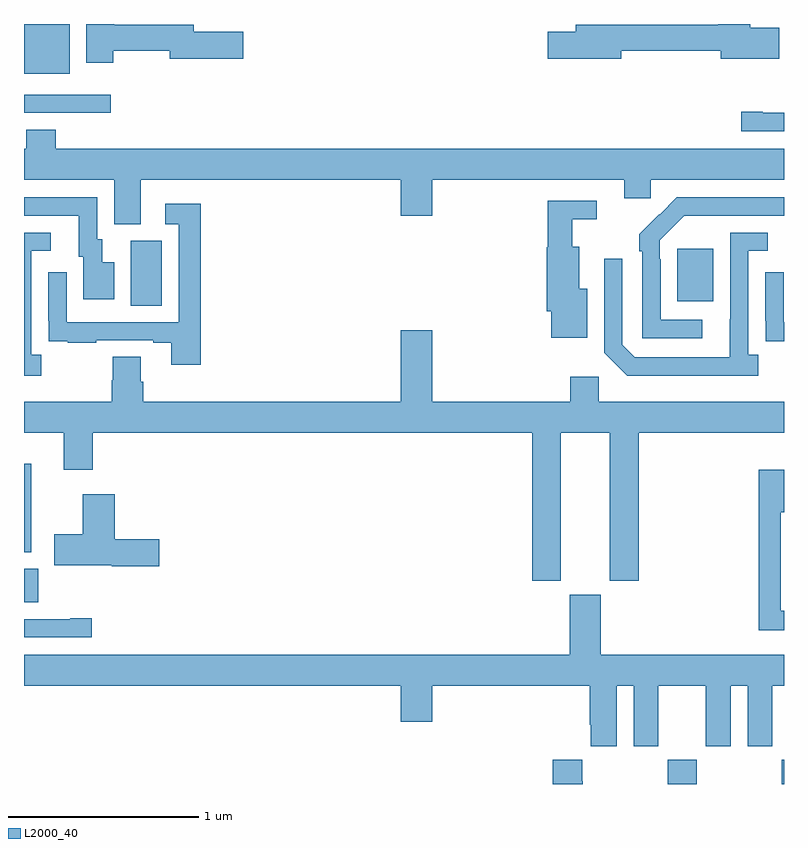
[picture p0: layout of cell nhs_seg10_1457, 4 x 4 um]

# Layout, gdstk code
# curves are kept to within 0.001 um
import gdstk
lib = gdstk.Library(unit=1e-6, precision=1e-09)
def R(c, l, rs):  # rectangles x0, y0, x1, y1
    for r in rs: c.add(gdstk.rectangle(r[:2], r[2:], *l))
def P(c, l, *ps):  # polygons
    for p in ps: c.add(gdstk.Polygon(p, *l))
L2000_40 = (2000, 40)

nhs_seg10_1457 = lib.new_cell('nhs_seg10_1457')
R(nhs_seg10_1457, L2000_40, [(190.387,1266.5,190.542,1266.628), (190.987,1266.5,191,1266.628), (187,1267.457,187.075,1267.633), (187,1267.721,187.039,1268.185), (187.562,1269.016,187.726,1269.36), (190.439,1269.041,190.627,1269.316), (187,1270.032,187.456,1270.128), (187,1270.238,187.24,1270.5)])
P(nhs_seg10_1457, L2000_40, [(190.975,1270.479),(190.822,1270.479),(190.822,1270.5),(190.655,1270.5),(190.655,1270.496),(189.905,1270.496),(189.905,1270.46),(189.756,1270.46),(189.756,1270.318),(190.144,1270.318),(190.144,1270.36),(190.667,1270.36),(190.667,1270.316),(190.975,1270.316)],
  [(187.47,1270.36),(187.766,1270.36),(187.766,1270.318),(188.155,1270.318),(188.155,1270.46),(187.894,1270.46),(187.894,1270.496),(187.475,1270.496),(187.475,1270.5),(187.328,1270.5),(187.328,1270.296),(187.47,1270.296)],
  [(191,1270.032),(190.888,1270.032),(190.888,1270.037),(190.776,1270.037),(190.776,1269.936),(191,1269.936)],
  [(187.615,1269.68),(188.984,1269.68),(188.984,1269.492),(189.148,1269.492),(189.148,1269.68),(190.16,1269.68),(190.16,1269.582),(190.299,1269.582),(190.299,1269.68),(191,1269.68),(191,1269.844),(187.166,1269.844),(187.166,1269.943),(187.013,1269.943),(187.013,1269.844),(187,1269.844),(187,1269.68),(187.475,1269.68),(187.475,1269.445),(187.615,1269.445)],
  [(190.57,1268.943),(190.35,1268.943),(190.35,1269.263),(190.347,1269.263),(190.347,1269.363),(190.476,1269.492),(191,1269.492),(191,1269.588),(190.436,1269.588),(190.239,1269.393),(190.239,1269.305),(190.254,1269.305),(190.254,1268.847),(190.57,1268.847)],
  [(187.474,1269.247),(187.411,1269.247),(187.411,1269.366),(187.386,1269.366),(187.386,1269.588),(187,1269.588),(187,1269.492),(187.289,1269.492),(187.289,1269.276),(187.313,1269.276),(187.313,1269.051),(187.474,1269.051)],
  [(189.964,1269.106),(189.922,1269.106),(189.922,1269.328),(189.886,1269.328),(189.886,1269.473),(190.015,1269.473),(190.015,1269.57),(189.757,1269.57),(189.757,1269.324),(189.752,1269.324),(189.752,1268.988),(189.776,1268.988),(189.776,1268.849),(189.964,1268.849)],
  [(187.931,1269.553),(187.743,1269.553),(187.743,1269.447),(187.815,1269.447),(187.815,1268.931),(187.224,1268.931),(187.224,1269.193),(187.128,1269.193),(187.128,1268.938),(187.129,1268.938),(187.129,1268.829),(187.231,1268.829),(187.231,1268.823),(187.379,1268.823),(187.379,1268.835),(187.679,1268.835),(187.679,1268.823),(187.775,1268.823),(187.775,1268.706),(187.931,1268.706)],
  [(187.09,1268.758),(187.038,1268.758),(187.038,1269.306),(187.141,1269.306),(187.141,1269.402),(187,1269.402),(187,1268.648),(187.09,1268.648)],
  [(190.864,1268.758),(190.812,1268.758),(190.812,1269.306),(190.915,1269.306),(190.915,1269.402),(190.716,1269.402),(190.715,1268.745),(190.215,1268.745),(190.149,1268.811),(190.149,1269.265),(190.053,1269.265),(190.053,1268.769),(190.174,1268.648),(190.864,1268.648)],
  [(191,1268.931),(190.998,1268.931),(190.998,1269.193),(190.902,1269.193),(190.902,1268.938),(190.903,1268.938),(190.903,1268.829),(191,1268.829)],
  [(188.984,1268.887),(188.984,1268.512),(187.628,1268.512),(187.628,1268.618),(187.615,1268.618),(187.615,1268.75),(187.468,1268.75),(187.468,1268.625),(187.463,1268.625),(187.463,1268.512),(187,1268.512),(187,1268.348),(187.208,1268.348),(187.208,1268.154),(187.361,1268.154),(187.361,1268.348),(189.674,1268.348),(189.674,1267.569),(189.826,1267.569),(189.826,1268.348),(190.082,1268.348),(190.082,1267.569),(190.235,1267.569),(190.235,1268.348),(191,1268.348),(191,1268.512),(190.026,1268.512),(190.026,1268.644),(189.875,1268.644),(189.875,1268.512),(189.148,1268.512),(189.148,1268.887)],
  [(191,1267.413),(190.983,1267.413),(190.983,1267.929),(191,1267.929),(191,1268.155),(190.867,1268.155),(190.867,1267.308),(191,1267.308)],
  [(187.711,1267.787),(187.478,1267.787),(187.478,1268.026),(187.31,1268.026),(187.31,1267.815),(187.158,1267.815),(187.158,1267.652),(187.461,1267.652),(187.461,1267.645),(187.711,1267.645)],
  [(190.12,1267.016),(190.208,1267.016),(190.208,1266.699),(190.339,1266.699),(190.339,1267.016),(190.589,1267.016),(190.589,1266.699),(190.72,1266.699),(190.72,1267.016),(190.808,1267.016),(190.808,1266.699),(190.939,1266.699),(190.939,1267.016),(191,1267.016),(191,1267.18),(190.036,1267.18),(190.036,1267.497),(189.872,1267.497),(189.872,1267.18),(187,1267.18),(187,1267.016),(188.984,1267.016),(188.984,1266.828),(189.148,1266.828),(189.148,1267.016),(189.977,1267.016),(189.977,1266.811),(189.983,1266.811),(189.983,1266.699),(190.12,1266.699)],
  [(187.357,1267.373),(187.244,1267.373),(187.244,1267.368),(187,1267.368),(187,1267.272),(187.357,1267.272)],
  [(189.942,1266.515),(189.937,1266.515),(189.937,1266.628),(189.782,1266.628),(189.782,1266.5),(189.942,1266.5)])

lib.write_gds('nhs_seg10_1457.gds')
